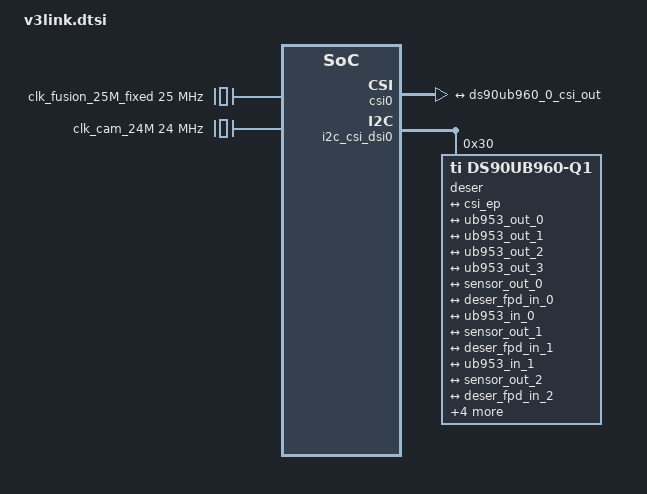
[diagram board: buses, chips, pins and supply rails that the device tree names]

/ {
	clk_fusion_25M_fixed: fixed-clock-fusion-25M {
		compatible = "fixed-clock";
		#clock-cells = <0>;
		clock-frequency = <25000000>;
	};
};

&csi0 {
	status = "okay";
	brcm,media-controller;

	ports {
		#address-cells = <1>;
		#size-cells = <0>;

		port {
			csi_ep: endpoint {
				remote-endpoint = <&ds90ub960_0_csi_out>;
				clock-lanes = <0>;
				data-lanes = <1 2 3 4>;
			};
		};
	};
};

&i2c_csi_dsi0 {
	#address-cells = <1>;
	#size-cells = <0>;

	status = "okay";
	//clock-frequency = <400000>;

	deser: deser@30 {
		compatible = "ti,ds90ub960-q1";

		reg-names = "main";
		reg       = <0x30>;

		clock-names = "refclk";
		clocks = <&clk_fusion_25M_fixed>;

		i2c-alias-pool = <0x4a 0x4b 0x4c 0x4d 0x4e 0x4f>;

		deser_ports: ports {
			#address-cells = <1>;
			#size-cells = <0>;

			/* CSI-2 */
			port@4 {
				reg = <4>;
				ds90ub960_0_csi_out: endpoint {
					clock-lanes = <0>;
					data-lanes = <1 2 3 4>;
					link-frequencies = /bits/ 64 <600000000>;
					remote-endpoint = <&csi_ep>;
				};
			};
		};

		deser_links: links {
			#address-cells = <1>;
			#size-cells = <0>;
		};
	};
};

/ {
	clk_cam_24M: fixed-clock-cam-0-24M {
		compatible = "fixed-clock";
		#clock-cells = <0>;
		clock-frequency = <24000000>;
	};
};

&deser_ports {
	#address-cells = <1>;
	#size-cells = <0>;

	/* FPDLink RX 0 */
	port@0 {
		reg = <0>;

		deser_fpd_in_0: endpoint {
			remote-endpoint = <&ub953_out_0>;
		};
	};
};

&deser_links {
	#address-cells = <1>;
	#size-cells = <0>;

	/* FPDLink RX 0 */
	link@0 {
		reg = <0>;
		i2c-alias = <68>;

		ti,rx-mode = <3>;

		serializer_0: serializer {
			compatible = "ti,ds90ub953-q1";

			gpio-controller;
			#gpio-cells = <2>;

			#clock-cells = <0>;

			ports {
				#address-cells = <1>;
				#size-cells = <0>;

				port@0 {
					reg = <0>;
					ub953_in_0: endpoint {
						clock-lanes = <0>;
						data-lanes = <1 2>;
						remote-endpoint = <&sensor_out_0>;
						clock-noncontinuous;
					};
				};

				port@1 {
					reg = <1>;

					ub953_out_0: endpoint {
						remote-endpoint = <&deser_fpd_in_0>;
					};
				};
			};

			i2c {
				#address-cells = <1>;
				#size-cells = <0>;

				imx219@10 {
					compatible = "sony,imx219";
					reg = <0x10>;

					clocks = <&clk_cam_24M>;
					clock-names = "xclk";

					VANA-supply = <&cam1_reg>;	/* 2.8v */
					VDIG-supply = <&cam_dummy_reg>;	/* 1.8v */
					VDDL-supply = <&cam_dummy_reg>;	/* 1.2v */

					rotation = <180>;
					orientation = <2>;

					port {
						sensor_out_0: endpoint {
							clock-lanes = <0>;
							data-lanes = <1 2>;
							clock-noncontinuous;
							link-frequencies =
								/bits/ 64 <456000000>;
							remote-endpoint = <&ub953_in_0>;
						};
					};
				};
			};
		};
	};
};

&deser_ports {
	#address-cells = <1>;
	#size-cells = <0>;

	/* FPDLink RX 1 */
	port@1 {
		reg = <1>;

		deser_fpd_in_1: endpoint {
			remote-endpoint = <&ub953_out_1>;
		};
	};
};

&deser_links {
	#address-cells = <1>;
	#size-cells = <0>;

	/* FPDLink RX 1 */
	link@1 {
		reg = <1>;
		i2c-alias = <69>;

		ti,rx-mode = <3>;

		serializer_1: serializer {
			compatible = "ti,ds90ub953-q1";

			gpio-controller;
			#gpio-cells = <2>;

			#clock-cells = <0>;

			ports {
				#address-cells = <1>;
				#size-cells = <0>;

				port@0 {
					reg = <0>;
					ub953_in_1: endpoint {
						clock-lanes = <0>;
						data-lanes = <1 2>;
						remote-endpoint = <&sensor_out_1>;
						clock-noncontinuous;
					};
				};

				port@1 {
					reg = <1>;

					ub953_out_1: endpoint {
						remote-endpoint = <&deser_fpd_in_1>;
					};
				};
			};

			i2c {
				#address-cells = <1>;
				#size-cells = <0>;

				imx219@10 {
					compatible = "sony,imx219";
					reg = <0x10>;

					clocks = <&clk_cam_24M>;
					clock-names = "xclk";

					VANA-supply = <&cam1_reg>;	/* 2.8v */
					VDIG-supply = <&cam_dummy_reg>;	/* 1.8v */
					VDDL-supply = <&cam_dummy_reg>;	/* 1.2v */

					rotation = <180>;
					orientation = <2>;

					port {
						sensor_out_1: endpoint {
							clock-lanes = <0>;
							data-lanes = <1 2>;
							clock-noncontinuous;
							link-frequencies =
								/bits/ 64 <456000000>;
							remote-endpoint = <&ub953_in_1>;
						};
					};
				};
			};
		};
	};
};

&deser_ports {
	#address-cells = <1>;
	#size-cells = <0>;

	/* FPDLink RX 2 */
	port@2 {
		reg = <2>;

		deser_fpd_in_2: endpoint {
			remote-endpoint = <&ub953_out_2>;
		};
	};
};

&deser_links {
	#address-cells = <1>;
	#size-cells = <0>;

	/* FPDLink RX 2 */
	link@2 {
		reg = <2>;
		i2c-alias = <70>;

		ti,rx-mode = <3>;

		serializer_2: serializer {
			compatible = "ti,ds90ub953-q1";

			gpio-controller;
			#gpio-cells = <2>;

			#clock-cells = <0>;

			ports {
				#address-cells = <1>;
				#size-cells = <0>;

				port@0 {
					reg = <0>;
					ub953_in_2: endpoint {
						clock-lanes = <0>;
						data-lanes = <1 2>;
						remote-endpoint = <&sensor_out_2>;
						clock-noncontinuous;
					};
				};

				port@1 {
					reg = <1>;

					ub953_out_2: endpoint {
						remote-endpoint = <&deser_fpd_in_2>;
					};
				};
			};

			i2c {
				#address-cells = <1>;
				#size-cells = <0>;

				imx219@10 {
					compatible = "sony,imx219";
					reg = <0x10>;

					clocks = <&clk_cam_24M>;
					clock-names = "xclk";

					VANA-supply = <&cam1_reg>;	/* 2.8v */
					VDIG-supply = <&cam_dummy_reg>;	/* 1.8v */
					VDDL-supply = <&cam_dummy_reg>;	/* 1.2v */

					rotation = <180>;
					orientation = <2>;

					port {
						sensor_out_2: endpoint {
							clock-lanes = <0>;
							data-lanes = <1 2>;
							clock-noncontinuous;
							link-frequencies =
								/bits/ 64 <456000000>;
							remote-endpoint = <&ub953_in_2>;
						};
					};
				};
			};
		};
	};
};

&deser_ports {
	#address-cells = <1>;
	#size-cells = <0>;

	/* FPDLink RX 3 */
	port@3 {
		reg = <3>;

		deser_fpd_in_3: endpoint {
			remote-endpoint = <&ub953_out_3>;
		};
	};
};

&deser_links {
	#address-cells = <1>;
	#size-cells = <0>;

	/* FPDLink RX 3 */
	link@3 {
		reg = <3>;
		i2c-alias = <71>;

		ti,rx-mode = <3>;

		serializer_3: serializer {
			compatible = "ti,ds90ub953-q1";

			gpio-controller;
			#gpio-cells = <2>;

			#clock-cells = <0>;

			ports {
				#address-cells = <1>;
				#size-cells = <0>;

				port@0 {
					reg = <0>;
					ub953_in_3: endpoint {
						clock-lanes = <0>;
						data-lanes = <1 2>;
						remote-endpoint = <&sensor_out_3>;
						clock-noncontinuous;
					};
				};

				port@1 {
					reg = <1>;

					ub953_out_3: endpoint {
						remote-endpoint = <&deser_fpd_in_3>;
					};
				};
			};

			i2c {
				#address-cells = <1>;
				#size-cells = <0>;

				imx219@10 {
					compatible = "sony,imx219";
					reg = <0x10>;

					clocks = <&clk_cam_24M>;
					clock-names = "xclk";

					VANA-supply = <&cam1_reg>;	/* 2.8v */
					VDIG-supply = <&cam_dummy_reg>;	/* 1.8v */
					VDDL-supply = <&cam_dummy_reg>;	/* 1.2v */

					rotation = <180>;
					orientation = <2>;

					port {
						sensor_out_3: endpoint {
							clock-lanes = <0>;
							data-lanes = <1 2>;
							clock-noncontinuous;
							link-frequencies =
								/bits/ 64 <456000000>;
							remote-endpoint = <&ub953_in_3>;
						};
					};
				};
			};
		};
	};
};
